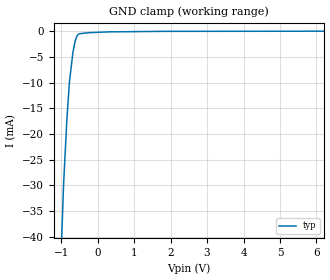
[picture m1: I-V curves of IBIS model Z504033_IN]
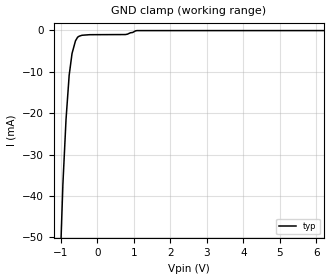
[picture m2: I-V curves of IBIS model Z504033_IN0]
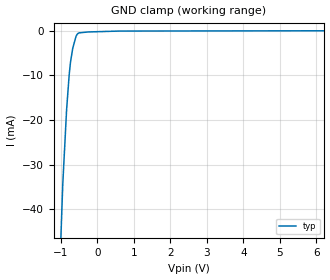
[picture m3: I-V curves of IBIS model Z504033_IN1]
| YOU ARE ONLY AUTHORIZED TO USE THIS SOFTWARE
| ACCORDING TO LICENSOR'S LICENSE RESTRICTIONS.
[IBIS Ver] 3.1
[File Name] mc74f74d.ibs
[File Rev] 2.0
[Source] Measured and created by ICX Technology
[Date] Friday 7/14/00 9:08:05 AM
[Copyright]
| (C) COPYRIGHT 1993-2000
| MENTOR GRAPHICS CORPORATION
| ICX STANDARD LIBRARY, ICX PROJECT MODELING,
| ICX CUSTOM MODELING, ICX VENDOR MODEL
| ALL RIGHTS RESERVED.
| THE FOLLOWING ARE TRADEMARKS OR SERVICE MARKS OF
| MENTOR GRAPHICS CORPORATION:ICX (R), ICX STANDARD
| LIBRARY(R), ICX PROJECT MODELING(R), ICX CUSTOM
| MODELING(R), qualityIBIS(TM), MODELVIEWER(TM),
| AND MODELEDITOR(TM)
| ALL COPIES OF SOFTWARE, INCLUDING BUT NOT LIMITED TO
| ANY MODIFICATIONS, ENHANCEMENTS OR DERIVATIVE WORKS,
| MUST CONTAIN ALL MENTOR GRAPHICS CORPORATION'S
| NOTICES AND LEGENDS, INCLUDING THOSE EMBEDDED IN
| SOFTWARE AND THOSE AFFIXED TO SOFTWARE MEDIUM
| AND CONTAINER, AS RECEIVED FROM MENTOR GRAPHICS
| CORPORATION.
|  ZAP Model Builder 2.7
[Component] MC74F74D
[Manufacturer] OnSemiconductor
[Package]
| variable   typ   min   max
R_pkg  .155ohms NA NA
L_pkg  3.028nH NA NA
C_pkg  .381pF NA NA
[Pin] signal_name  model_name  R_pin  L_pin C_pin
1 _CLR Z504033_IN0 .16 3.587n .407p
2 D Z504033_IN .156 3.147n .387p
3 CLK Z504033_IN1 .152 2.717n .367p
4 _PRE Z504033_IN2 .148 2.297n .347p
5 Q Z504033_OUT .152 2.717n .367p
6 _Q Z504033_OUT0 .156 3.147n .387p
7 GROUND GND .16 3.587n .407p
8 _Q Z504033_OUT0 .16 3.587n .407p
9 Q Z504033_OUT .156 3.147n .387p
10 _PRE Z504033_IN2 .152 2.717n .367p
11 CLK Z504033_IN1 .148 2.297n .347p
12 D Z504033_IN .152 2.717n .367p
13 _CLR Z504033_IN0 .156 3.147n .387p
14 VCC POWER .16 3.587n .407p
| Models and submodels in the file (6): Z504033_IN (Input), Z504033_IN0 (Input), Z504033_IN1 (Input), Z504033_IN2 (Input), Z504033_OUT (Output), Z504033_OUT0 (Output)
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| (C) COPYRIGHT 1993-2000
| MENTOR GRAPHICS CORPORATION
| ICX STANDARD LIBRARY, ICX PROJECT MODELING,
| ICX CUSTOM MODELING, ICX VENDOR MODEL
| ALL RIGHTS RESERVED.
| THE FOLLOWING ARE TRADEMARKS OR SERVICE MARKS OF
| MENTOR GRAPHICS CORPORATION:ICX (R), ICX STANDARD
| LIBRARY(R), ICX PROJECT MODELING(R), ICX CUSTOM
| MODELING(R), qualityIBIS(TM), MODELVIEWER(TM),
| AND MODELEDITOR(TM)
| ALL COPIES OF SOFTWARE, INCLUDING BUT NOT LIMITED TO
| ANY MODIFICATIONS, ENHANCEMENTS OR DERIVATIVE WORKS,
| MUST CONTAIN ALL MENTOR GRAPHICS CORPORATION'S
| NOTICES AND LEGENDS, INCLUDING THOSE EMBEDDED IN
| SOFTWARE AND THOSE AFFIXED TO SOFTWARE MEDIUM
| AND CONTAINER, AS RECEIVED FROM MENTOR GRAPHICS
| CORPORATION.
| Model Application Version 1.89 2/18/99.
[Model] Z504033_IN
Model_type Input
Vinl = 800.0mV
Vinh = 2.000V
C_comp 4.000pF NA NA
| variable typ   min   max
[Voltage Range] 5.000V NA NA
[GND Clamp Reference] 0.000V NA NA
[POWER Clamp Reference] 5.000V NA NA
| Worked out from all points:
|   GND clamp passes 1 mA (typ) near -0.57 V on its own axis
[GND Clamp]
-5V       -1.184A    NA         NA
-1.097V   -63.13mA   NA         NA
-931.9mV  -29.78mA   NA         NA
-842.5mV  -17.23mA   NA         NA
-772.1mV  -9.863mA   NA         NA
-675mV    -4.04mA    NA         NA
-619mV    -2.013mA   NA         NA
-580.9mV  -1.168mA   NA         NA
-497.7mV  -469.9uA   NA         NA
325.6mV   -108.5uA   NA         NA
1.851V    -6.039uA   NA         NA
10V       44.97uA    NA         NA
[POWER Clamp]
-5V       0A         NA         NA
10V       0A         NA         NA
| (C) COPYRIGHT 1993-2000
| MENTOR GRAPHICS CORPORATION
| ICX STANDARD LIBRARY, ICX PROJECT MODELING,
| ICX CUSTOM MODELING, ICX VENDOR MODEL
| ALL RIGHTS RESERVED.
| THE FOLLOWING ARE TRADEMARKS OR SERVICE MARKS OF
| MENTOR GRAPHICS CORPORATION:ICX (R), ICX STANDARD
| LIBRARY(R), ICX PROJECT MODELING(R), ICX CUSTOM
| MODELING(R), qualityIBIS(TM), MODELVIEWER(TM),
| AND MODELEDITOR(TM)
| ALL COPIES OF SOFTWARE, INCLUDING BUT NOT LIMITED TO
| ANY MODIFICATIONS, ENHANCEMENTS OR DERIVATIVE WORKS,
| MUST CONTAIN ALL MENTOR GRAPHICS CORPORATION'S
| NOTICES AND LEGENDS, INCLUDING THOSE EMBEDDED IN
| SOFTWARE AND THOSE AFFIXED TO SOFTWARE MEDIUM
| AND CONTAINER, AS RECEIVED FROM MENTOR GRAPHICS
| CORPORATION.
| Model Application Version 1.89 2/18/99.
[Model] Z504033_IN0
Model_type Input
Vinl = 800.0mV
Vinh = 2.000V
C_comp 4.000pF NA NA
| variable typ   min   max
[Voltage Range] 5.000V NA NA
[GND Clamp Reference] 0.000V NA NA
[POWER Clamp Reference] 5.000V NA NA
[GND Clamp]
-5V       -1.452A    NA         NA
-1.084V   -73.89mA   NA         NA
-943.5mV  -37.21mA   NA         NA
-857.5mV  -21.48mA   NA         NA
-771.8mV  -10.84mA   NA         NA
-693.3mV  -5.57mA    NA         NA
-598.9mV  -2.505mA   NA         NA
-497.2mV  -1.38mA    NA         NA
-210mV    -1.021mA   NA         NA
767.4mV   -987.1uA   NA         NA
1.086V    -32.56uA   NA         NA
10V       -26.79uA   NA         NA
[POWER Clamp]
-5V       0A         NA         NA
10V       0A         NA         NA
| (C) COPYRIGHT 1993-2000
| MENTOR GRAPHICS CORPORATION
| ICX STANDARD LIBRARY, ICX PROJECT MODELING,
| ICX CUSTOM MODELING, ICX VENDOR MODEL
| ALL RIGHTS RESERVED.
| THE FOLLOWING ARE TRADEMARKS OR SERVICE MARKS OF
| MENTOR GRAPHICS CORPORATION:ICX (R), ICX STANDARD
| LIBRARY(R), ICX PROJECT MODELING(R), ICX CUSTOM
| MODELING(R), qualityIBIS(TM), MODELVIEWER(TM),
| AND MODELEDITOR(TM)
| ALL COPIES OF SOFTWARE, INCLUDING BUT NOT LIMITED TO
| ANY MODIFICATIONS, ENHANCEMENTS OR DERIVATIVE WORKS,
| MUST CONTAIN ALL MENTOR GRAPHICS CORPORATION'S
| NOTICES AND LEGENDS, INCLUDING THOSE EMBEDDED IN
| SOFTWARE AND THOSE AFFIXED TO SOFTWARE MEDIUM
| AND CONTAINER, AS RECEIVED FROM MENTOR GRAPHICS
| CORPORATION.
| Model Application Version 1.89 2/18/99.
[Model] Z504033_IN1
Model_type Input
Vinl = 800.0mV
Vinh = 2.000V
C_comp 4.000pF NA NA
| variable typ   min   max
[Voltage Range] 5.000V NA NA
[GND Clamp Reference] 0.000V NA NA
[POWER Clamp Reference] 5.000V NA NA
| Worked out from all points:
|   GND clamp passes 1 mA (typ) near -0.57 V on its own axis
[GND Clamp]
-5V       -1.382A    NA         NA
-1.092V   -68.01mA   NA         NA
-947.2mV  -34.4mA    NA         NA
-842.1mV  -17.69mA   NA         NA
-772.1mV  -9.93mA    NA         NA
-736.1mV  -7.078mA   NA         NA
-675mV    -3.935mA   NA         NA
-580.9mV  -1.151mA   NA         NA
-542mV    -654.6uA   NA         NA
-497.5mV  -447.2uA   NA         NA
605.6mV   -50.67uA   NA         NA
10V       58.79uA    NA         NA
[POWER Clamp]
-5V       0A         NA         NA
10V       0A         NA         NA
